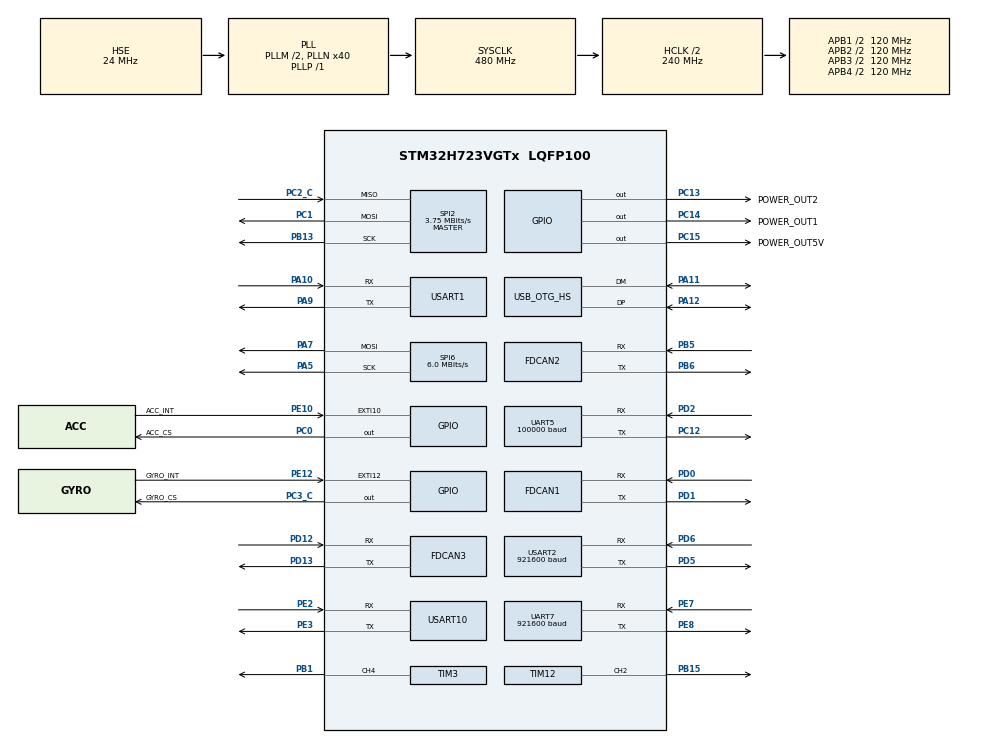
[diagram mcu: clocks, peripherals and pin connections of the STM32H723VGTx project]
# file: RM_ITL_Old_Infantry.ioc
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Dma.Request0=SPI2_RX
Dma.Request1=SPI2_TX
Dma.Request10=USART1_TX
Dma.Request2=UART5_RX
Dma.Request3=UART7_RX
Dma.Request4=UART7_TX
Dma.Request5=USART2_RX
Dma.Request6=USART2_TX
Dma.Request7=USART10_RX
Dma.Request8=USART10_TX
Dma.Request9=USART1_RX
Dma.SPI2_RX.0.Direction=DMA_PERIPH_TO_MEMORY
Dma.SPI2_RX.0.EventEnable=DISABLE
Dma.SPI2_RX.0.FIFOMode=DMA_FIFOMODE_DISABLE
Dma.SPI2_RX.0.Instance=DMA1_Stream2
Dma.SPI2_RX.0.MemDataAlignment=DMA_MDATAALIGN_BYTE
Dma.SPI2_RX.0.MemInc=DMA_MINC_ENABLE
Dma.SPI2_RX.0.Mode=DMA_NORMAL
Dma.SPI2_RX.0.PeriphDataAlignment=DMA_PDATAALIGN_BYTE
Dma.SPI2_RX.0.PeriphInc=DMA_PINC_DISABLE
Dma.SPI2_RX.0.Polarity=HAL_DMAMUX_REQ_GEN_RISING
Dma.SPI2_RX.0.Priority=DMA_PRIORITY_VERY_HIGH
Dma.SPI2_RX.0.RequestNumber=1
Dma.SPI2_RX.0.SignalID=NONE
Dma.SPI2_RX.0.SyncEnable=DISABLE
Dma.SPI2_RX.0.SyncPolarity=HAL_DMAMUX_SYNC_NO_EVENT
Dma.SPI2_RX.0.SyncRequestNumber=1
Dma.SPI2_RX.0.SyncSignalID=NONE
Dma.SPI2_TX.1.Direction=DMA_MEMORY_TO_PERIPH
Dma.SPI2_TX.1.EventEnable=DISABLE
Dma.SPI2_TX.1.FIFOMode=DMA_FIFOMODE_DISABLE
Dma.SPI2_TX.1.Instance=DMA1_Stream3
Dma.SPI2_TX.1.MemDataAlignment=DMA_MDATAALIGN_BYTE
Dma.SPI2_TX.1.MemInc=DMA_MINC_ENABLE
Dma.SPI2_TX.1.Mode=DMA_NORMAL
Dma.SPI2_TX.1.PeriphDataAlignment=DMA_PDATAALIGN_BYTE
Dma.SPI2_TX.1.PeriphInc=DMA_PINC_DISABLE
Dma.SPI2_TX.1.Polarity=HAL_DMAMUX_REQ_GEN_RISING
Dma.SPI2_TX.1.Priority=DMA_PRIORITY_HIGH
Dma.SPI2_TX.1.RequestNumber=1
Dma.SPI2_TX.1.SignalID=NONE
Dma.SPI2_TX.1.SyncEnable=DISABLE
Dma.SPI2_TX.1.SyncPolarity=HAL_DMAMUX_SYNC_NO_EVENT
Dma.SPI2_TX.1.SyncRequestNumber=1
Dma.SPI2_TX.1.SyncSignalID=NONE
Dma.UART5_RX.2.Direction=DMA_PERIPH_TO_MEMORY
Dma.UART5_RX.2.EventEnable=DISABLE
Dma.UART5_RX.2.FIFOMode=DMA_FIFOMODE_DISABLE
Dma.UART5_RX.2.Instance=DMA1_Stream5
Dma.UART5_RX.2.MemDataAlignment=DMA_MDATAALIGN_BYTE
Dma.UART5_RX.2.MemInc=DMA_MINC_ENABLE
Dma.UART5_RX.2.Mode=DMA_NORMAL
Dma.UART5_RX.2.PeriphDataAlignment=DMA_PDATAALIGN_BYTE
Dma.UART5_RX.2.PeriphInc=DMA_PINC_DISABLE
Dma.UART5_RX.2.Polarity=HAL_DMAMUX_REQ_GEN_RISING
Dma.UART5_RX.2.Priority=DMA_PRIORITY_LOW
Dma.UART5_RX.2.RequestNumber=1
Dma.UART5_RX.2.SignalID=NONE
Dma.UART5_RX.2.SyncEnable=DISABLE
Dma.UART5_RX.2.SyncPolarity=HAL_DMAMUX_SYNC_NO_EVENT
Dma.UART5_RX.2.SyncRequestNumber=1
Dma.UART5_RX.2.SyncSignalID=NONE
Dma.UART7_RX.3.Direction=DMA_PERIPH_TO_MEMORY
Dma.UART7_RX.3.EventEnable=DISABLE
Dma.UART7_RX.3.FIFOMode=DMA_FIFOMODE_DISABLE
Dma.UART7_RX.3.Instance=DMA1_Stream7
Dma.UART7_RX.3.MemDataAlignment=DMA_MDATAALIGN_BYTE
Dma.UART7_RX.3.MemInc=DMA_MINC_ENABLE
Dma.UART7_RX.3.Mode=DMA_NORMAL
Dma.UART7_RX.3.PeriphDataAlignment=DMA_PDATAALIGN_BYTE
Dma.UART7_RX.3.PeriphInc=DMA_PINC_DISABLE
Dma.UART7_RX.3.Polarity=HAL_DMAMUX_REQ_GEN_RISING
Dma.UART7_RX.3.Priority=DMA_PRIORITY_LOW
Dma.UART7_RX.3.RequestNumber=1
Dma.UART7_RX.3.SignalID=NONE
Dma.UART7_RX.3.SyncEnable=DISABLE
Dma.UART7_RX.3.SyncPolarity=HAL_DMAMUX_SYNC_NO_EVENT
Dma.UART7_RX.3.SyncRequestNumber=1
Dma.UART7_RX.3.SyncSignalID=NONE
Dma.UART7_TX.4.Direction=DMA_MEMORY_TO_PERIPH
Dma.UART7_TX.4.EventEnable=DISABLE
Dma.UART7_TX.4.FIFOMode=DMA_FIFOMODE_DISABLE
Dma.UART7_TX.4.Instance=DMA2_Stream0
Dma.UART7_TX.4.MemDataAlignment=DMA_MDATAALIGN_BYTE
Dma.UART7_TX.4.MemInc=DMA_MINC_ENABLE
Dma.UART7_TX.4.Mode=DMA_NORMAL
Dma.UART7_TX.4.PeriphDataAlignment=DMA_PDATAALIGN_BYTE
Dma.UART7_TX.4.PeriphInc=DMA_PINC_DISABLE
Dma.UART7_TX.4.Polarity=HAL_DMAMUX_REQ_GEN_RISING
Dma.UART7_TX.4.Priority=DMA_PRIORITY_LOW
Dma.UART7_TX.4.RequestNumber=1
Dma.UART7_TX.4.SignalID=NONE
Dma.UART7_TX.4.SyncEnable=DISABLE
Dma.UART7_TX.4.SyncPolarity=HAL_DMAMUX_SYNC_NO_EVENT
Dma.UART7_TX.4.SyncRequestNumber=1
Dma.UART7_TX.4.SyncSignalID=NONE
Dma.USART10_RX.7.Direction=DMA_PERIPH_TO_MEMORY
Dma.USART10_RX.7.EventEnable=DISABLE
Dma.USART10_RX.7.FIFOMode=DMA_FIFOMODE_DISABLE
Dma.USART10_RX.7.Instance=DMA2_Stream1
Dma.USART10_RX.7.MemDataAlignment=DMA_MDATAALIGN_BYTE
Dma.USART10_RX.7.MemInc=DMA_MINC_ENABLE
Dma.USART10_RX.7.Mode=DMA_NORMAL
Dma.USART10_RX.7.PeriphDataAlignment=DMA_PDATAALIGN_BYTE
Dma.USART10_RX.7.PeriphInc=DMA_PINC_DISABLE
Dma.USART10_RX.7.Polarity=HAL_DMAMUX_REQ_GEN_RISING
Dma.USART10_RX.7.Priority=DMA_PRIORITY_LOW
Dma.USART10_RX.7.RequestNumber=1
Dma.USART10_RX.7.SignalID=NONE
Dma.USART10_RX.7.SyncEnable=DISABLE
Dma.USART10_RX.7.SyncPolarity=HAL_DMAMUX_SYNC_NO_EVENT
Dma.USART10_RX.7.SyncRequestNumber=1
Dma.USART10_RX.7.SyncSignalID=NONE
Dma.USART10_TX.8.Direction=DMA_MEMORY_TO_PERIPH
Dma.USART10_TX.8.EventEnable=DISABLE
Dma.USART10_TX.8.FIFOMode=DMA_FIFOMODE_DISABLE
Dma.USART10_TX.8.Instance=DMA2_Stream2
Dma.USART10_TX.8.MemDataAlignment=DMA_MDATAALIGN_BYTE
Dma.USART10_TX.8.MemInc=DMA_MINC_ENABLE
Dma.USART10_TX.8.Mode=DMA_NORMAL
Dma.USART10_TX.8.PeriphDataAlignment=DMA_PDATAALIGN_BYTE
Dma.USART10_TX.8.PeriphInc=DMA_PINC_DISABLE
Dma.USART10_TX.8.Polarity=HAL_DMAMUX_REQ_GEN_RISING
Dma.USART10_TX.8.Priority=DMA_PRIORITY_LOW
Dma.USART10_TX.8.RequestNumber=1
Dma.USART10_TX.8.SignalID=NONE
Dma.USART10_TX.8.SyncEnable=DISABLE
Dma.USART10_TX.8.SyncPolarity=HAL_DMAMUX_SYNC_NO_EVENT
Dma.USART10_TX.8.SyncRequestNumber=1
Dma.USART10_TX.8.SyncSignalID=NONE
Dma.USART1_RX.9.Direction=DMA_PERIPH_TO_MEMORY
Dma.USART1_RX.9.EventEnable=DISABLE
Dma.USART1_RX.9.FIFOMode=DMA_FIFOMODE_DISABLE
Dma.USART1_RX.9.Instance=DMA1_Stream0
Dma.USART1_RX.9.MemDataAlignment=DMA_MDATAALIGN_BYTE
Dma.USART1_RX.9.MemInc=DMA_MINC_ENABLE
Dma.USART1_RX.9.Mode=DMA_NORMAL
Dma.USART1_RX.9.PeriphDataAlignment=DMA_PDATAALIGN_BYTE
Dma.USART1_RX.9.PeriphInc=DMA_PINC_DISABLE
Dma.USART1_RX.9.Polarity=HAL_DMAMUX_REQ_GEN_RISING
Dma.USART1_RX.9.Priority=DMA_PRIORITY_LOW
Dma.USART1_RX.9.RequestNumber=1
Dma.USART1_RX.9.SignalID=NONE
Dma.USART1_RX.9.SyncEnable=DISABLE
Dma.USART1_RX.9.SyncPolarity=HAL_DMAMUX_SYNC_NO_EVENT
Dma.USART1_RX.9.SyncRequestNumber=1
Dma.USART1_RX.9.SyncSignalID=NONE
Dma.USART1_TX.10.Direction=DMA_MEMORY_TO_PERIPH
Dma.USART1_TX.10.EventEnable=DISABLE
Dma.USART1_TX.10.FIFOMode=DMA_FIFOMODE_DISABLE
Dma.USART1_TX.10.Instance=DMA1_Stream1
Dma.USART1_TX.10.MemDataAlignment=DMA_MDATAALIGN_BYTE
Dma.USART1_TX.10.MemInc=DMA_MINC_ENABLE
Dma.USART1_TX.10.Mode=DMA_NORMAL
Dma.USART1_TX.10.PeriphDataAlignment=DMA_PDATAALIGN_BYTE
Dma.USART1_TX.10.PeriphInc=DMA_PINC_DISABLE
Dma.USART1_TX.10.Polarity=HAL_DMAMUX_REQ_GEN_RISING
Dma.USART1_TX.10.Priority=DMA_PRIORITY_LOW
Dma.USART1_TX.10.RequestNumber=1
Dma.USART1_TX.10.SignalID=NONE
Dma.USART1_TX.10.SyncEnable=DISABLE
Dma.USART1_TX.10.SyncPolarity=HAL_DMAMUX_SYNC_NO_EVENT
Dma.USART1_TX.10.SyncRequestNumber=1
Dma.USART1_TX.10.SyncSignalID=NONE
Dma.USART2_RX.5.Direction=DMA_PERIPH_TO_MEMORY
Dma.USART2_RX.5.EventEnable=DISABLE
Dma.USART2_RX.5.FIFOMode=DMA_FIFOMODE_DISABLE
Dma.USART2_RX.5.Instance=DMA1_Stream4
Dma.USART2_RX.5.MemDataAlignment=DMA_MDATAALIGN_BYTE
Dma.USART2_RX.5.MemInc=DMA_MINC_ENABLE
Dma.USART2_RX.5.Mode=DMA_NORMAL
Dma.USART2_RX.5.PeriphDataAlignment=DMA_PDATAALIGN_BYTE
Dma.USART2_RX.5.PeriphInc=DMA_PINC_DISABLE
Dma.USART2_RX.5.Polarity=HAL_DMAMUX_REQ_GEN_RISING
Dma.USART2_RX.5.Priority=DMA_PRIORITY_LOW
Dma.USART2_RX.5.RequestNumber=1
Dma.USART2_RX.5.SignalID=NONE
Dma.USART2_RX.5.SyncEnable=DISABLE
Dma.USART2_RX.5.SyncPolarity=HAL_DMAMUX_SYNC_NO_EVENT
Dma.USART2_RX.5.SyncRequestNumber=1
Dma.USART2_RX.5.SyncSignalID=NONE
Dma.USART2_TX.6.Direction=DMA_MEMORY_TO_PERIPH
Dma.USART2_TX.6.EventEnable=DISABLE
Dma.USART2_TX.6.FIFOMode=DMA_FIFOMODE_DISABLE
Dma.USART2_TX.6.Instance=DMA1_Stream6
Dma.USART2_TX.6.MemDataAlignment=DMA_MDATAALIGN_BYTE
Dma.USART2_TX.6.MemInc=DMA_MINC_ENABLE
Dma.USART2_TX.6.Mode=DMA_NORMAL
Dma.USART2_TX.6.PeriphDataAlignment=DMA_PDATAALIGN_BYTE
Dma.USART2_TX.6.PeriphInc=DMA_PINC_DISABLE
Dma.USART2_TX.6.Polarity=HAL_DMAMUX_REQ_GEN_RISING
Dma.USART2_TX.6.Priority=DMA_PRIORITY_LOW
Dma.USART2_TX.6.RequestNumber=1
Dma.USART2_TX.6.SignalID=NONE
Dma.USART2_TX.6.SyncEnable=DISABLE
Dma.USART2_TX.6.SyncPolarity=HAL_DMAMUX_SYNC_NO_EVENT
Dma.USART2_TX.6.SyncRequestNumber=1
Dma.USART2_TX.6.SyncSignalID=NONE
FDCAN1.CalculateBaudRateNominal=1000000
FDCAN1.CalculateTimeBitNominal=1000
FDCAN1.CalculateTimeQuantumNominal=25.0
FDCAN1.DataPrescaler=3
FDCAN1.DataSyncJumpWidth=10
FDCAN1.DataTimeSeg1=29
FDCAN1.DataTimeSeg2=10
FDCAN1.NominalPrescaler=3
FDCAN1.NominalSyncJumpWidth=10
FDCAN1.NominalTimeSeg1=29
FDCAN1.NominalTimeSeg2=10
FDCAN1.ProtocolException=ENABLE
FDCAN1.RxFifo0ElmtsNbr=32
FDCAN1.RxFifo1ElmtsNbr=32
FDCAN1.StdFiltersNbr=128
FDCAN1.TxFifoQueueElmtsNbr=32
FDCAN2.CalculateBaudRateNominal=1000000
FDCAN2.CalculateTimeBitNominal=1000
FDCAN2.CalculateTimeQuantumNominal=25.0
FDCAN2.DataPrescaler=3
FDCAN2.DataSyncJumpWidth=10
FDCAN2.DataTimeSeg1=29
FDCAN2.DataTimeSeg2=10
FDCAN2.MessageRAMOffset=854
FDCAN2.NominalPrescaler=3
FDCAN2.NominalSyncJumpWidth=10
FDCAN2.NominalTimeSeg1=29
FDCAN2.NominalTimeSeg2=10
FDCAN2.ProtocolException=ENABLE
FDCAN2.RxFifo0ElmtsNbr=32
FDCAN2.RxFifo1ElmtsNbr=32
FDCAN2.StdFiltersNbr=128
FDCAN2.TxFifoQueueElmtsNbr=32
FDCAN3.CalculateBaudRateNominal=1000000
FDCAN3.CalculateTimeBitNominal=1000
FDCAN3.CalculateTimeQuantumNominal=25.0
FDCAN3.DataPrescaler=3
FDCAN3.DataSyncJumpWidth=10
FDCAN3.DataTimeSeg1=29
FDCAN3.DataTimeSeg2=10
FDCAN3.MessageRAMOffset=1706
FDCAN3.NominalPrescaler=3
FDCAN3.NominalSyncJumpWidth=10
FDCAN3.NominalTimeSeg1=29
FDCAN3.NominalTimeSeg2=10
FDCAN3.ProtocolException=ENABLE
FDCAN3.RxFifo0ElmtsNbr=32
FDCAN3.RxFifo1ElmtsNbr=32
FDCAN3.StdFiltersNbr=128
FDCAN3.TxFifoQueueElmtsNbr=32
FREERTOS.INCLUDE_pcTaskGetTaskName=1
FREERTOS.INCLUDE_uxTaskGetStackHighWaterMark2=1
FREERTOS.INCLUDE_vTaskCleanUpResources=1
FREERTOS.INCLUDE_xSemaphoreGetMutexHolder=1
FREERTOS.INCLUDE_xTaskAbortDelay=1
FREERTOS.INCLUDE_xTaskGetHandle=1
FREERTOS.Tasks01=defaultTask,24,512,StartDefaultTask,Default,NULL,Dynamic,NULL,NULL;chassis,24,512,chassis_task,As external,NULL,Static,chassisBuffer,chassisControlBlock;detect,40,512,detect_task,As external,NULL,Static,detectBuffer,detectControlBlock;INS,24,1024,INS_task,As weak,NULL,Static,INSBuffer,INSControlBlock;gimbal,24,512,gimbal_task,As external,NULL,Static,gimbalBuffer,gimbalControlBlock;shoot,24,512,shoot_task,As external,NULL,Static,shootBuffer,shootControlBlock;hoisting,24,512,hoisting_task,As external,NULL,Static,hoistingBuffer,hoistingControlBlock;referee,24,512,referee_usart_task,As external,NULL,Static,refereeBuffer,refereeControlBlock
FREERTOS.configENABLE_FPU=1
FREERTOS.configTOTAL_HEAP_SIZE=30000
Mcu.Family=STM32H7
Mcu.Name=STM32H723VGTx
Mcu.Package=LQFP100
NVIC.DMA1_Stream0_IRQn=true\:5\:0\:false\:false\:true\:true\:false\:true\:true
NVIC.DMA1_Stream1_IRQn=true\:5\:0\:false\:false\:true\:true\:false\:true\:true
NVIC.DMA1_Stream2_IRQn=true\:5\:0\:true\:false\:true\:true\:false\:true\:true
NVIC.DMA1_Stream3_IRQn=true\:5\:0\:true\:false\:true\:true\:false\:true\:true
NVIC.DMA1_Stream4_IRQn=true\:5\:0\:true\:false\:true\:true\:false\:true\:true
NVIC.DMA1_Stream5_IRQn=true\:5\:0\:true\:false\:true\:true\:false\:true\:true
NVIC.DMA1_Stream6_IRQn=true\:5\:0\:true\:false\:true\:true\:false\:true\:true
NVIC.DMA1_Stream7_IRQn=true\:5\:0\:true\:false\:true\:true\:false\:true\:true
NVIC.DMA2_Stream0_IRQn=true\:5\:0\:true\:false\:true\:true\:false\:true\:true
NVIC.DMA2_Stream1_IRQn=true\:5\:0\:true\:false\:true\:true\:false\:true\:true
NVIC.DMA2_Stream2_IRQn=true\:5\:0\:true\:false\:true\:true\:false\:true\:true
NVIC.FDCAN1_IT0_IRQn=true\:5\:0\:false\:false\:true\:true\:true\:true\:true
NVIC.FDCAN1_IT1_IRQn=true\:5\:0\:false\:false\:true\:true\:true\:true\:true
NVIC.FDCAN2_IT0_IRQn=true\:5\:0\:false\:false\:true\:true\:true\:true\:true
NVIC.FDCAN2_IT1_IRQn=true\:5\:0\:false\:false\:true\:true\:true\:true\:true
NVIC.FDCAN3_IT0_IRQn=true\:5\:0\:false\:false\:true\:true\:true\:true\:true
NVIC.FDCAN3_IT1_IRQn=true\:5\:0\:false\:false\:true\:true\:true\:true\:true
NVIC.FDCAN_CAL_IRQn=true\:5\:0\:true\:false\:true\:true\:true\:true\:true
NVIC.OTG_HS_IRQn=true\:5\:0\:true\:false\:true\:true\:true\:true\:true
NVIC.PriorityGroup=NVIC_PRIORITYGROUP_4
NVIC.SPI2_IRQn=true\:5\:0\:true\:false\:true\:true\:false\:true\:true
NVIC.TIM23_IRQn=true\:15\:0\:false\:false\:true\:false\:false\:true\:true
NVIC.TimeBase=TIM23_IRQn
NVIC.TimeBaseIP=TIM23
NVIC.UART5_IRQn=true\:5\:0\:true\:false\:true\:true\:true\:true\:true
NVIC.UART7_IRQn=true\:5\:0\:true\:false\:true\:true\:false\:true\:true
NVIC.USART10_IRQn=true\:5\:0\:true\:false\:true\:true\:false\:true\:true
NVIC.USART1_IRQn=true\:5\:0\:false\:false\:true\:true\:true\:true\:true
NVIC.USART2_IRQn=true\:5\:0\:true\:false\:true\:true\:false\:true\:true
PA10.Mode=Asynchronous
PA10.Signal=USART1_RX
PA11.Mode=Device_Only_FS
PA11.Signal=USB_OTG_HS_DM
PA12.Mode=Device_Only_FS
PA12.Signal=USB_OTG_HS_DP
PA13(JTMS/SWDIO).Mode=Serial_Wire
PA13(JTMS/SWDIO).Signal=DEBUG_JTMS-SWDIO
PA14(JTCK/SWCLK).Mode=Serial_Wire
PA14(JTCK/SWCLK).Signal=DEBUG_JTCK-SWCLK
PA5.GPIO_Speed=GPIO_SPEED_FREQ_VERY_HIGH
PA5.Mode=TX_Only_Simplex_Unidirect_Master
PA5.Signal=SPI6_SCK
PA7.GPIO_Speed=GPIO_SPEED_FREQ_VERY_HIGH
PA7.Mode=TX_Only_Simplex_Unidirect_Master
PA7.Signal=SPI6_MOSI
PA9.Mode=Asynchronous
PA9.Signal=USART1_TX
PB1.Signal=S_TIM3_CH4
PB13.Mode=Full_Duplex_Master
PB13.Signal=SPI2_SCK
PB15.Signal=S_TIM12_CH2
PB5.Mode=FDCAN_Activate
PB5.Signal=FDCAN2_RX
PB6.Mode=FDCAN_Activate
PB6.Signal=FDCAN2_TX
PC0.GPIO_Label=ACC_CS
PC0.GPIO_Speed=GPIO_SPEED_FREQ_VERY_HIGH
PC0.PinState=GPIO_PIN_SET
PC0.Signal=GPIO_Output
PC1.Mode=Full_Duplex_Master
PC1.Signal=SPI2_MOSI
PC12.Mode=Asynchronous
PC12.Signal=UART5_TX
PC13.GPIO_Label=POWER_OUT2
PC13.PinState=GPIO_PIN_SET
PC13.Signal=GPIO_Output
PC14-OSC32_IN.GPIO_Label=POWER_OUT1
PC14-OSC32_IN.PinState=GPIO_PIN_SET
PC14-OSC32_IN.Signal=GPIO_Output
PC15-OSC32_OUT.GPIO_Label=POWER_OUT5V
PC15-OSC32_OUT.PinState=GPIO_PIN_SET
PC15-OSC32_OUT.Signal=GPIO_Output
PC2_C.Mode=Full_Duplex_Master
PC2_C.Signal=SPI2_MISO
PC3_C.GPIO_Label=GYRO_CS
PC3_C.GPIO_Speed=GPIO_SPEED_FREQ_VERY_HIGH
PC3_C.PinState=GPIO_PIN_SET
PC3_C.Signal=GPIO_Output
PD0.Mode=FDCAN_Activate
PD0.Signal=FDCAN1_RX
PD1.Mode=FDCAN_Activate
PD1.Signal=FDCAN1_TX
PD12.Mode=FDCAN_Activate
PD12.Signal=FDCAN3_RX
PD13.Mode=FDCAN_Activate
PD13.Signal=FDCAN3_TX
PD2.Mode=Asynchronous
PD2.Signal=UART5_RX
PD5.Mode=Asynchronous
PD5.Signal=USART2_TX
PD6.Mode=Asynchronous
PD6.Signal=USART2_RX
PE10.GPIO_Label=ACC_INT
PE10.Signal=GPXTI10
PE12.GPIO_Label=GYRO_INT
PE12.Signal=GPXTI12
PE2.Mode=Asynchronous
PE2.Signal=USART10_RX
PE3.Mode=Asynchronous
PE3.Signal=USART10_TX
PE7.Mode=Asynchronous
PE7.Signal=UART7_RX
PE8.Mode=Asynchronous
PE8.Signal=UART7_TX
PH0-OSC_IN.Mode=HSE-External-Oscillator
PH0-OSC_IN.Signal=RCC_OSC_IN
PH1-OSC_OUT.Mode=HSE-External-Oscillator
PH1-OSC_OUT.Signal=RCC_OSC_OUT
ProjectManager.HeapSize=0x200
ProjectManager.StackSize=0x400
ProjectManager.TargetToolchain=MDK-ARM V5.32
RCC.ADCFreq_Value=48375000
RCC.APB1Freq_Value=120000000
RCC.APB2Freq_Value=120000000
RCC.APB3Freq_Value=120000000
RCC.APB4Freq_Value=120000000
RCC.CortexFreq_Value=480000000
RCC.D1PPRE=RCC_APB3_DIV2
RCC.D2PPRE1=RCC_APB1_DIV2
RCC.D2PPRE2=RCC_APB2_DIV2
RCC.D3PPRE=RCC_APB4_DIV2
RCC.DIVM1=2
RCC.DIVN1=40
RCC.DIVP1=1
RCC.DIVQ1=4
RCC.HCLKFreq_Value=240000000
RCC.HPRE=RCC_HCLK_DIV2
RCC.HSE_VALUE=24000000
RCC.PLL2FRACN=0
RCC.PLL3FRACN=0
RCC.PLLFRACN=0
RCC.PLLSourceVirtual=RCC_PLLSOURCE_HSE
RCC.SPI6CLockSelection=RCC_SPI6CLKSOURCE_HSE
RCC.SYSCLKFreq_VALUE=480000000
RCC.SYSCLKSource=RCC_SYSCLKSOURCE_PLLCLK
RCC.USBCLockSelection=RCC_USBCLKSOURCE_HSI48
RCC.USBFreq_Value=48000000
SH.S_TIM12_CH2.0=TIM12_CH2,PWM Generation2 CH2
SH.S_TIM3_CH4.0=TIM3_CH4,PWM Generation4 CH4
SPI2.BaudRatePrescaler=SPI_BAUDRATEPRESCALER_32
SPI2.CLKPhase=SPI_PHASE_2EDGE
SPI2.CLKPolarity=SPI_POLARITY_HIGH
SPI2.CalculateBaudRate=3.75 MBits/s
SPI2.DataSize=SPI_DATASIZE_8BIT
SPI2.Direction=SPI_DIRECTION_2LINES
SPI2.Mode=SPI_MODE_MASTER
SPI2.VirtualType=VM_MASTER
SPI6.BaudRatePrescaler=SPI_BAUDRATEPRESCALER_4
SPI6.CLKPhase=SPI_PHASE_2EDGE
SPI6.CalculateBaudRate=6.0 MBits/s
SPI6.DataSize=SPI_DATASIZE_8BIT
SPI6.Direction=SPI_DIRECTION_2LINES_TXONLY
SPI6.Mode=SPI_MODE_MASTER
SPI6.VirtualType=VM_MASTER
STMicroelectronics.X-CUBE-ALGOBUILD.1.4.0.LibraryCcDSPOoLibraryJjDSPOoLibrary=true
TIM12.Channel-PWM\ Generation2\ CH2=TIM_CHANNEL_2
TIM12.Period=2000-1
TIM12.Prescaler=24-1
TIM12.Pulse-PWM\ Generation2\ CH2=1000
TIM3.AutoReloadPreload=TIM_AUTORELOAD_PRELOAD_ENABLE
TIM3.Channel-PWM\ Generation4\ CH4=TIM_CHANNEL_4
TIM3.Period=10000-1
TIM3.Prescaler=24-1
UART5.BaudRate=100000
UART5.Mode=MODE_RX
UART5.Parity=PARITY_EVEN
UART5.StopBits=UART_STOPBITS_2
UART5.WordLength=WORDLENGTH_9B
UART7.BaudRate=921600
USART1.VirtualMode-Asynchronous=VM_ASYNC
USART10.VirtualMode=VM_ASYNC
USART2.BaudRate=921600
USART2.VirtualMode-Asynchronous=VM_ASYNC
USB_DEVICE.CLASS_NAME_HS=CDC
USB_DEVICE.VirtualMode=Cdc
USB_DEVICE.VirtualModeHS=Cdc_HS
USB_OTG_HS.VirtualMode-Device_Only_FS=Device_Only_FS
VP_FREERTOS_VS_CMSIS_V2.Mode=CMSIS_V2
VP_MEMORYMAP_VS_MEMORYMAP.Mode=CurAppReg
VP_STMicroelectronics.X-CUBE-ALGOBUILD_VS_DSPOoLibraryJjLibrary_1.4.0_1.4.0.Mode=DSPOoLibraryJjLibrary
VP_SYS_VS_tim23.Mode=TIM23
VP_USB_DEVICE_VS_USB_DEVICE_CDC_HS.Mode=CDC_HS
board=custom

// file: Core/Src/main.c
/* USER CODE BEGIN Header */
/**
  ******************************************************************************
  * @file           : main.c
  * @brief          : Main program body
  ******************************************************************************
  * @attention
  *
  * Copyright (c) 2026 STMicroelectronics.
  * All rights reserved.
  *
  * This software is licensed under terms that can be found in the LICENSE file
  * in the root directory of this software component.
  * If no LICENSE file comes with this software, it is provided AS-IS.
  *
  ******************************************************************************
  */
/* USER CODE END Header */
#include "main.h"
#include "cmsis_os.h"
#include "dma.h"
#include "fdcan.h"
#include "spi.h"
#include "tim.h"
#include "usart.h"
#include "usb_device.h"
#include "gpio.h"

/* USER CODE BEGIN Includes */
#include "bsp_can.h"
#include "bsp_usart.h"
#include "bsp_buzzer.h"
#include "remote_control.h"
#include "bsp_DWT.h"
#include "usbd_cdc_if.h"
#include "GQ_Motor.h"
/* USER CODE END Includes */

void SystemClock_Config(void);
void MX_FREERTOS_Init(void);

int main(void)
{

  /* MCU Configuration--------------------------------------------------------*/

  /* Reset of all peripherals, Initializes the Flash interface and the Systick. */
  HAL_Init();

  /* Configure the system clock */
  SystemClock_Config();

  /* Initialize all configured peripherals */
  MX_GPIO_Init();
  MX_DMA_Init();
  MX_FDCAN1_Init();
  MX_FDCAN2_Init();
  MX_FDCAN3_Init();
  MX_SPI2_Init();
  MX_SPI6_Init();
  MX_UART5_Init();
  MX_UART7_Init();
  MX_USART2_UART_Init();
  MX_USART10_UART_Init();
  MX_TIM3_Init();
  MX_TIM12_Init();
  MX_USART1_UART_Init();
  /* USER CODE BEGIN 2 */
  DWT_Init(480);
  buzzer_init();
  //buzzer_play_twinkle_star();
	bsp_can_init();
  usart_rx_dma_start(&huart5, sbus_buf, sizeof(sbus_buf));
  usart_rx_dma_start(&huart1, usart1_rx_buf, sizeof(usart1_rx_buf));
  usart_rx_dma_start(&huart7, usart7_rx_buf, sizeof(usart7_rx_buf));
  usart_rx_dma_start(&huart10, usart10_rx_buf, sizeof(usart10_rx_buf));
	remote_control_init();
  /* USER CODE END 2 */

  /* Init scheduler */
  osKernelInitialize();  /* Call init function for freertos objects (in cmsis_os2.c) */
  MX_FREERTOS_Init();

  /* Start scheduler */
  osKernelStart();

  /* We should never get here as control is now taken by the scheduler */

  /* Infinite loop */
  while (1)
  {

  }
}

void SystemClock_Config(void)
{
  RCC_OscInitTypeDef RCC_OscInitStruct = {0};
  RCC_ClkInitTypeDef RCC_ClkInitStruct = {0};

  /** Supply configuration update enable
  */
  HAL_PWREx_ConfigSupply(PWR_LDO_SUPPLY);

  /** Configure the main internal regulator output voltage
  */
  __HAL_PWR_VOLTAGESCALING_CONFIG(PWR_REGULATOR_VOLTAGE_SCALE0);

  while(!__HAL_PWR_GET_FLAG(PWR_FLAG_VOSRDY)) {}

  /** Initializes the RCC Oscillators according to the specified parameters
  * in the RCC_OscInitTypeDef structure.
  */
  RCC_OscInitStruct.OscillatorType = RCC_OSCILLATORTYPE_HSI48|RCC_OSCILLATORTYPE_HSE;
  RCC_OscInitStruct.HSEState = RCC_HSE_ON;
  RCC_OscInitStruct.HSI48State = RCC_HSI48_ON;
  RCC_OscInitStruct.PLL.PLLState = RCC_PLL_ON;
  RCC_OscInitStruct.PLL.PLLSource = RCC_PLLSOURCE_HSE;
  RCC_OscInitStruct.PLL.PLLM = 2;
  RCC_OscInitStruct.PLL.PLLN = 40;
  RCC_OscInitStruct.PLL.PLLP = 1;
  RCC_OscInitStruct.PLL.PLLQ = 4;
  RCC_OscInitStruct.PLL.PLLR = 2;
  RCC_OscInitStruct.PLL.PLLRGE = RCC_PLL1VCIRANGE_3;
  RCC_OscInitStruct.PLL.PLLVCOSEL = RCC_PLL1VCOWIDE;
  RCC_OscInitStruct.PLL.PLLFRACN = 0;
  if (HAL_RCC_OscConfig(&RCC_OscInitStruct) != HAL_OK)
  {
    Error_Handler();
  }

  /** Initializes the CPU, AHB and APB buses clocks
  */
  RCC_ClkInitStruct.ClockType = RCC_CLOCKTYPE_HCLK|RCC_CLOCKTYPE_SYSCLK
                              |RCC_CLOCKTYPE_PCLK1|RCC_CLOCKTYPE_PCLK2
                              |RCC_CLOCKTYPE_D3PCLK1|RCC_CLOCKTYPE_D1PCLK1;
  RCC_ClkInitStruct.SYSCLKSource = RCC_SYSCLKSOURCE_PLLCLK;
  RCC_ClkInitStruct.SYSCLKDivider = RCC_SYSCLK_DIV1;
  RCC_ClkInitStruct.AHBCLKDivider = RCC_HCLK_DIV2;
  RCC_ClkInitStruct.APB3CLKDivider = RCC_APB3_DIV2;
  RCC_ClkInitStruct.APB1CLKDivider = RCC_APB1_DIV2;
  RCC_ClkInitStruct.APB2CLKDivider = RCC_APB2_DIV2;
  RCC_ClkInitStruct.APB4CLKDivider = RCC_APB4_DIV2;

  if (HAL_RCC_ClockConfig(&RCC_ClkInitStruct, FLASH_LATENCY_3) != HAL_OK)
  {
    Error_Handler();
  }
}

void HAL_TIM_PeriodElapsedCallback(TIM_HandleTypeDef *htim)
{
  if (htim->Instance == TIM23)
  {
    HAL_IncTick();
  }
}

void Error_Handler(void)
{
  __disable_irq();
  while (1)
  {
  }
}

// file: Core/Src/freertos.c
/* USER CODE BEGIN Header */
/**
  ******************************************************************************
  * File Name          : freertos.c
  * Description        : Code for freertos applications
  ******************************************************************************
  * @attention
  *
  * Copyright (c) 2026 STMicroelectronics.
  * All rights reserved.
  *
  * This software is licensed under terms that can be found in the LICENSE file
  * in the root directory of this software component.
  * If no LICENSE file comes with this software, it is provided AS-IS.
  *
  ******************************************************************************
  */
/* USER CODE END Header */

#include "FreeRTOS.h"
#include "task.h"
#include "main.h"
#include "cmsis_os.h"

typedef StaticTask_t osStaticThreadDef_t;

/* Definitions for defaultTask */
osThreadId_t defaultTaskHandle;
const osThreadAttr_t defaultTask_attributes = {
  .name = "defaultTask",
  .stack_size = 512 * 4,
  .priority = (osPriority_t) osPriorityNormal,
};
/* Definitions for chassis */
osThreadId_t chassisHandle;
uint32_t chassisBuffer[ 512 ];
osStaticThreadDef_t chassisControlBlock;
const osThreadAttr_t chassis_attributes = {
  .name = "chassis",
  .cb_mem = &chassisControlBlock,
  .cb_size = sizeof(chassisControlBlock),
  .stack_mem = &chassisBuffer[0],
  .stack_size = sizeof(chassisBuffer),
  .priority = (osPriority_t) osPriorityNormal,
};
/* Definitions for detect */
osThreadId_t detectHandle;
uint32_t detectBuffer[ 512 ];
osStaticThreadDef_t detectControlBlock;
const osThreadAttr_t detect_attributes = {
  .name = "detect",
  .cb_mem = &detectControlBlock,
  .cb_size = sizeof(detectControlBlock),
  .stack_mem = &detectBuffer[0],
  .stack_size = sizeof(detectBuffer),
  .priority = (osPriority_t) osPriorityHigh,
};
/* Definitions for INS */
osThreadId_t INSHandle;
uint32_t INSBuffer[ 1024 ];
osStaticThreadDef_t INSControlBlock;
const osThreadAttr_t INS_attributes = {
  .name = "INS",
  .cb_mem = &INSControlBlock,
  .cb_size = sizeof(INSControlBlock),
  .stack_mem = &INSBuffer[0],
  .stack_size = sizeof(INSBuffer),
  .priority = (osPriority_t) osPriorityNormal,
};
/* Definitions for gimbal */
osThreadId_t gimbalHandle;
uint32_t gimbalBuffer[ 512 ];
osStaticThreadDef_t gimbalControlBlock;
const osThreadAttr_t gimbal_attributes = {
  .name = "gimbal",
  .cb_mem = &gimbalControlBlock,
  .cb_size = sizeof(gimbalControlBlock),
  .stack_mem = &gimbalBuffer[0],
  .stack_size = sizeof(gimbalBuffer),
  .priority = (osPriority_t) osPriorityNormal,
};
/* Definitions for shoot */
osThreadId_t shootHandle;
uint32_t shootBuffer[ 512 ];
osStaticThreadDef_t shootControlBlock;
const osThreadAttr_t shoot_attributes = {
  .name = "shoot",
  .cb_mem = &shootControlBlock,
  .cb_size = sizeof(shootControlBlock),
  .stack_mem = &shootBuffer[0],
  .stack_size = sizeof(shootBuffer),
  .priority = (osPriority_t) osPriorityNormal,
};
/* Definitions for hoisting */
osThreadId_t hoistingHandle;
uint32_t hoistingBuffer[ 512 ];
osStaticThreadDef_t hoistingControlBlock;
const osThreadAttr_t hoisting_attributes = {
  .name = "hoisting",
  .cb_mem = &hoistingControlBlock,
  .cb_size = sizeof(hoistingControlBlock),
  .stack_mem = &hoistingBuffer[0],
  .stack_size = sizeof(hoistingBuffer),
  .priority = (osPriority_t) osPriorityNormal,
};
/* Definitions for referee */
osThreadId_t refereeHandle;
uint32_t refereeBuffer[ 512 ];
osStaticThreadDef_t refereeControlBlock;
const osThreadAttr_t referee_attributes = {
  .name = "referee",
  .cb_mem = &refereeControlBlock,
  .cb_size = sizeof(refereeControlBlock),
  .stack_mem = &refereeBuffer[0],
  .stack_size = sizeof(refereeBuffer),
  .priority = (osPriority_t) osPriorityNormal,
};

void StartDefaultTask(void *argument);
extern void chassis_task(void *argument);
extern void detect_task(void *argument);
void INS_task(void *argument);
extern void gimbal_task(void *argument);
extern void shoot_task(void *argument);
extern void hoisting_task(void *argument);
extern void referee_usart_task(void *argument);

extern void MX_USB_DEVICE_Init(void);
void MX_FREERTOS_Init(void); /* (MISRA C 2004 rule 8.1) */

void MX_FREERTOS_Init(void) {

  /* Create the thread(s) */
  /* creation of defaultTask */
  defaultTaskHandle = osThreadNew(StartDefaultTask, NULL, &defaultTask_attributes);

  /* creation of chassis */
  chassisHandle = osThreadNew(chassis_task, NULL, &chassis_attributes);

  /* creation of detect */
  detectHandle = osThreadNew(detect_task, NULL, &detect_attributes);

  /* creation of INS */
  INSHandle = osThreadNew(INS_task, NULL, &INS_attributes);

  /* creation of gimbal */
  gimbalHandle = osThreadNew(gimbal_task, NULL, &gimbal_attributes);

  /* creation of shoot */
  shootHandle = osThreadNew(shoot_task, NULL, &shoot_attributes);

  /* creation of hoisting */
  hoistingHandle = osThreadNew(hoisting_task, NULL, &hoisting_attributes);

  /* creation of referee */
  refereeHandle = osThreadNew(referee_usart_task, NULL, &referee_attributes);

}

void StartDefaultTask(void *argument)
{
  /* init code for USB_DEVICE */
  MX_USB_DEVICE_Init();
  for(;;)
  {
    osDelay(1);
  }
}

__weak void INS_task(void *argument)
{
  for(;;)
  {
    osDelay(1);
  }
}
